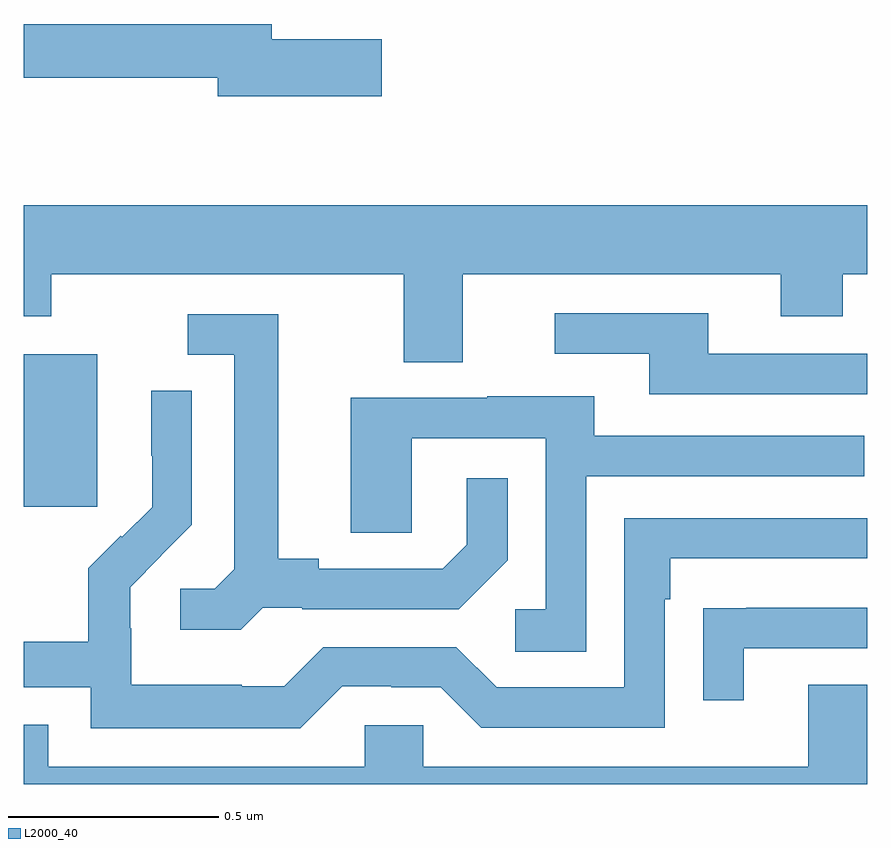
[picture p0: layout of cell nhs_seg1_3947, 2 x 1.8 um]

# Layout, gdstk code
import gdstk
lib = gdstk.Library(unit=1e-6, precision=1e-09)
def R(c, l, rs):  # rectangles x0, y0, x1, y1
    for r in rs: c.add(gdstk.rectangle(r[:2], r[2:], *l))
def P(c, l, *ps):  # polygons
    for p in ps: c.add(gdstk.Polygon(p, *l))
L2000_40 = (2000, 40)

nhs_seg1_3947 = lib.new_cell('nhs_seg1_3947')
R(nhs_seg1_3947, L2000_40, [(160,541.857,160.174,542.218)])
P(nhs_seg1_3947, L2000_40, [(160.849,542.966),(160.588,542.966),(160.588,543.002),(160,543.002),(160,542.874),(160.46,542.874),(160.46,542.831),(160.849,542.831)],
  [(161.041,542.408),(161.795,542.408),(161.795,542.309),(161.943,542.309),(161.943,542.408),(162,542.408),(162,542.572),(160,542.572),(160,542.309),(160.065,542.309),(160.065,542.408),(160.901,542.408),(160.901,542.2),(161.041,542.2)],
  [(162,542.22),(161.623,542.22),(161.623,542.316),(161.259,542.316),(161.259,542.22),(161.483,542.22),(161.483,542.124),(162,542.124)],
  [(160.566,541.617),(160.66,541.617),(160.66,541.614),(161.032,541.614),(161.148,541.73),(161.148,541.924),(161.051,541.924),(161.051,541.767),(160.994,541.71),(160.699,541.71),(160.699,541.733),(160.603,541.733),(160.603,542.313),(160.389,542.313),(160.389,542.217),(160.499,542.217),(160.499,541.709),(160.452,541.662),(160.371,541.662),(160.371,541.565),(160.514,541.565)],
  [(160.755,541.431),(160.871,541.431),(160.871,541.428),(160.989,541.428),(161.085,541.332),(161.52,541.332),(161.52,541.637),(161.533,541.637),(161.533,541.734),(162,541.734),(162,541.83),(161.424,541.83),(161.424,541.428),(161.121,541.428),(161.025,541.524),(160.71,541.524),(160.617,541.431),(160.517,541.431),(160.517,541.435),(160.254,541.435),(160.254,541.569),(160.252,541.569),(160.252,541.666),(160.326,541.74),(160.325,541.741),(160.398,541.814),(160.398,542.132),(160.302,542.132),(160.302,541.978),(160.304,541.978),(160.304,541.856),(160.233,541.785),(160.23,541.788),(160.153,541.711),(160.153,541.537),(160,541.537),(160,541.428),(160.158,541.428),(160.158,541.331),(160.655,541.331)],
  [(161.334,541.929),(161.993,541.929),(161.993,542.025),(161.353,542.025),(161.353,542.119),(161.099,542.119),(161.099,542.115),(160.775,542.115),(160.775,541.795),(160.92,541.795),(160.92,542.019),(161.238,542.019),(161.238,541.614),(161.166,541.614),(161.166,541.513),(161.334,541.513)],
  [(161.707,541.521),(162,541.521),(162,541.617),(161.713,541.617),(161.713,541.616),(161.611,541.616),(161.611,541.398),(161.707,541.398)],
  [(162,541.435),(161.861,541.435),(161.861,541.24),(160.947,541.24),(160.947,541.338),(160.809,541.338),(160.809,541.24),(160.057,541.24),(160.057,541.339),(160,541.339),(160,541.199),(162,541.199)])

lib.write_gds('nhs_seg1_3947.gds')
